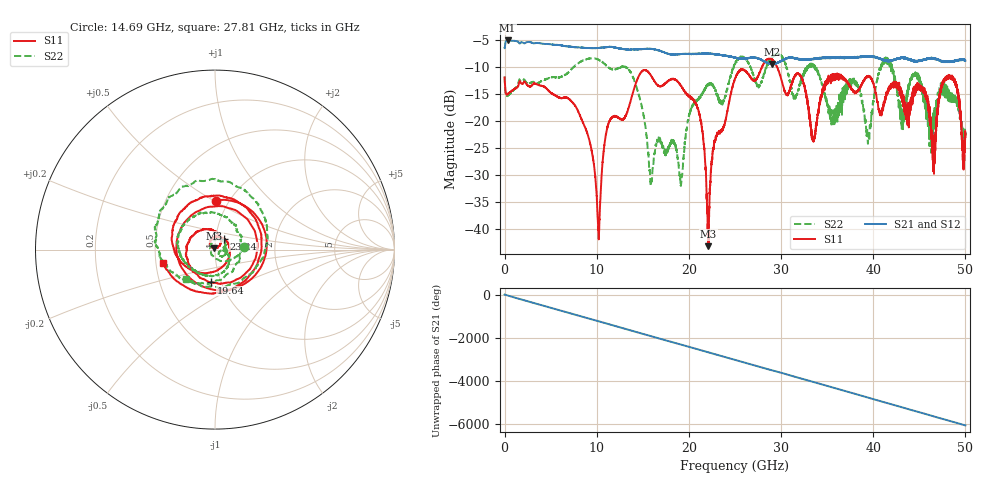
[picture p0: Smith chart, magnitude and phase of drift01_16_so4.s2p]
!Created with skrf (http://scikit-rf.org).
# Hz S RI R 50.0
!freq ReS11 ImS11 ReS21 ImS21 ReS12 ImS12 ReS22 ImS22
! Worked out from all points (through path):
!   10001 points, 300 kHz to 50 GHz, reference 50 ohm
!   highest |S21| = -5.05 dB at 320.3 MHz (marker M1); lowest = -9.4 dB at 28.98 GHz (marker M2)
!   group delay of S21, straight-line fit = 336 ps
!   lowest |S11| = -43.1 dB at 22.11 GHz (marker M3), VSWR 1.01, Z = 49.7 + j0.625 ohm
!   |S11| at or under -10 dB: start of sweep to 27.92 GHz; 29.58 GHz to end of sweep
!   |S22| runs from -32.0 to -7.5 dB; largest |S21 - S12| = 0.011
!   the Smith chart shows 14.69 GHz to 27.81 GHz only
!   S11 on the Smith chart (normalised r, x): 14.69 GHz: 0.87, +0.52; 19.64 GHz: 0.90, -0.34; 23.24 GHz: 1.09, +0.14; 27.81 GHz: 0.54, -0.09
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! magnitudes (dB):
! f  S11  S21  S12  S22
! 300 kHz  -11.9  -6.4  -6.5  -11.7
! 320.3 MHz  -15.0  -5.1  -5.1  -15.3
! 8.335 GHz  -19.6  -6.4  -6.4  -8.9
! 10.2 GHz  -41.3  -6.4  -6.4  -8.6
! 11.23 GHz  -20.7  -6.3  -6.3  -9.9
! 14.69 GHz  -11.3  -6.7  -6.7  -15.9
! 15.87 GHz  -11.5  -6.6  -6.6  -31.4
! 16.67 GHz  -13.4  -6.9  -6.9  -23.2
! 19.64 GHz  -14.7  -7.5  -7.5  -23.0
! 21.23 GHz  -19.5  -7.5  -7.5  -15.6
! 22.11 GHz  -43.1  -7.5  -7.5  -13.2
! 23.24 GHz  -22.1  -7.7  -7.7  -15.7
! 25 GHz  -12.1  -8.2  -8.3  -9.5
! 27.81 GHz  -10.4  -8.6  -8.6  -12.8
! 28.98 GHz  -8.5  -9.4  -9.4  -8.3
! 33.34 GHz  -23.1  -8.5  -8.5  -9.6
! 39.47 GHz  -11.7  -8.0  -8.0  -22.5
! 41.67 GHz  -13.9  -8.8  -8.8  -8.8
! 45.47 GHz  -13.9  -8.6  -8.6  -16.1
! 46.55 GHz  -28.6  -8.4  -8.3  -20.1
! 48.49 GHz  -11.6  -8.9  -9.0  -15.6
! 50 GHz  -22.4  -8.8  -8.7  -22.8
